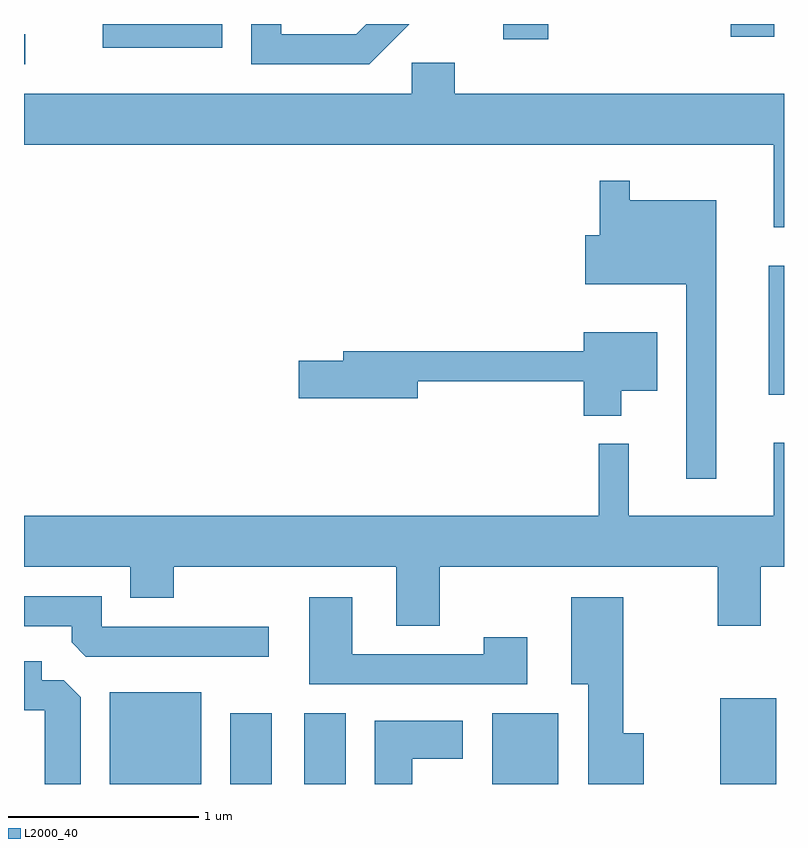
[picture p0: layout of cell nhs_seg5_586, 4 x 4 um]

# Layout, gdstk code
import gdstk
lib = gdstk.Library(unit=1e-6, precision=1e-09)
def R(c, l, rs):  # rectangles x0, y0, x1, y1
    for r in rs: c.add(gdstk.rectangle(r[:2], r[2:], *l))
def P(c, l, *ps):  # polygons
    for p in ps: c.add(gdstk.Polygon(p, *l))
L2000_40 = (2000, 40)

nhs_seg5_586 = lib.new_cell('nhs_seg5_586')
R(nhs_seg5_586, L2000_40, [(202.061,1480.072,202.544,1480.554), (202.696,1480.072,202.914,1480.444), (203.086,1480.072,203.304,1480.444), (204.076,1480.072,204.424,1480.444), (205.276,1480.072,205.569,1480.524), (205.531,1482.121,205.611,1482.799), (201.611,1483.861,201.618,1484.019), (202.026,1483.946,202.654,1484.072), (204.133,1483.991,204.369,1484.072), (205.331,1484.006,205.559,1484.072)])
P(nhs_seg5_586, L2000_40, [(203.638,1484.072),(203.411,1484.072),(203.359,1484.019),(202.964,1484.019),(202.964,1484.072),(202.806,1484.072),(202.806,1483.861),(203.427,1483.861)],
  [(205.611,1483.704),(203.879,1483.704),(203.879,1483.869),(203.651,1483.869),(203.651,1483.704),(201.611,1483.704),(201.611,1483.436),(205.556,1483.436),(205.556,1483.003),(205.611,1483.003)],
  [(205.254,1483.144),(204.799,1483.144),(204.799,1483.248),(204.641,1483.248),(204.641,1482.959),(204.566,1482.959),(204.566,1482.701),(205.096,1482.701),(205.096,1481.678),(205.254,1481.678)],
  [(204.754,1482.141),(204.944,1482.141),(204.944,1482.449),(204.556,1482.449),(204.556,1482.349),(203.291,1482.349),(203.291,1482.299),(203.056,1482.299),(203.056,1482.101),(203.684,1482.101),(203.684,1482.191),(204.556,1482.191),(204.556,1482.011),(204.754,1482.011)],
  [(203.799,1481.216),(205.261,1481.216),(205.261,1480.906),(205.489,1480.906),(205.489,1481.216),(205.611,1481.216),(205.611,1481.868),(205.556,1481.868),(205.556,1481.484),(204.794,1481.484),(204.794,1481.863),(204.636,1481.863),(204.636,1481.484),(201.611,1481.484),(201.611,1481.216),(202.171,1481.216),(202.171,1481.051),(202.399,1481.051),(202.399,1481.216),(203.571,1481.216),(203.571,1480.906),(203.799,1480.906)],
  [(202.898,1480.899),(202.019,1480.899),(202.019,1481.059),(201.611,1481.059),(201.611,1480.901),(201.861,1480.901),(201.861,1480.817),(201.937,1480.741),(202.898,1480.741)],
  [(204.874,1480.339),(204.764,1480.339),(204.764,1481.054),(204.491,1481.054),(204.491,1480.596),(204.581,1480.596),(204.581,1480.072),(204.874,1480.072)],
  [(204.259,1480.844),(204.031,1480.844),(204.031,1480.754),(203.339,1480.754),(203.339,1481.054),(203.111,1481.054),(203.111,1480.596),(204.259,1480.596)],
  [(201.909,1480.529),(201.819,1480.619),(201.704,1480.619),(201.704,1480.719),(201.611,1480.719),(201.611,1480.461),(201.721,1480.461),(201.721,1480.072),(201.909,1480.072)],
  [(203.654,1480.206),(203.919,1480.206),(203.919,1480.404),(203.456,1480.404),(203.456,1480.072),(203.654,1480.072)])

lib.write_gds('nhs_seg5_586.gds')
